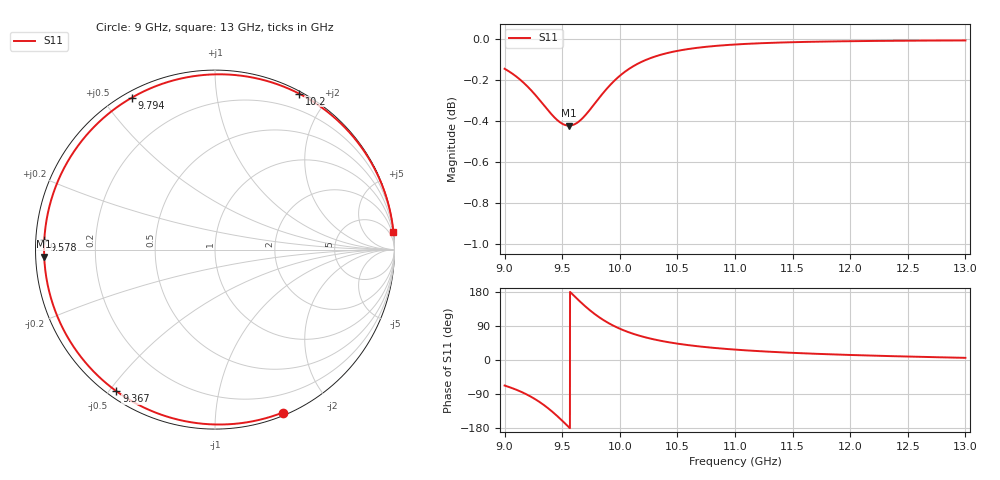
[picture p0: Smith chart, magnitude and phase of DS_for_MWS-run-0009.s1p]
! TOUCHSTONE file generated by CST DESIGN STUDIO
! Date and time: Tue Feb  4 18:26:32 2025
! Project name: C:\Work\MatlabApps\UnitCellOptimizationMatlab\CST\unitcell.cst
! Tree item: Tasks\Sweep1\SPara1\S-Parameters
! Header version: 2024
! Port assignment regex: !\s*Touchstone port\s*([0-9]+)\s*=\s*(CST MWS port|CST DES external port|CST DES block port)\s*(.+)\s* \(\"(.*)\"\)(\s*mode\s*([0-9]+))?.*
! Touchstone port assignment:
! Touchstone port 1 = CST DES external port 1 ("")
# GHz S MA R 50
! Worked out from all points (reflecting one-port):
!   4001 points, 9 GHz to 13 GHz, reference 50 ohm
!   lowest |S11| = -0.4 dB at 9.559 GHz (marker M1), VSWR 41.05, Z = 1.22 - j1.05 ohm
!   phase of S11 starts at -67 deg and turns -287 deg over the sweep
!   S11 on the Smith chart (normalised r, x): 9 GHz: 0.03, -1.50; 9.367 GHz: 0.03, -0.52; 9.578 GHz: 0.02, +0.03; 9.794 GHz: 0.02, +0.59; 10.2 GHz: 0.02, +1.67; 13 GHz: 0, +20
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9  0.9832 -67.4
9.041  0.9817 -71.6
9.107  0.9787 -79.1
9.22  0.9722 -95.4
9.298  0.9666 -109.7
9.367  0.9614 -124.8
9.432  0.9569 -141.2
9.5  0.9535 -160.2
9.559  0.9524 -177.6
9.578  0.9526 176.7
9.633  0.9541 160.5
9.693  0.9575 143.6
9.743  0.9611 130.6
9.794  0.9652 118.6
9.839  0.9687 109.1
9.887  0.9723 100.0
9.94  0.9759 91.2
10  0.9794 82.6
10.095  0.9838 71.3
10.198  0.9873 61.7
10.337  0.9906 51.8
10.5  0.9931 43.2
10.721  0.9952 34.8
11  0.9967 27.4
11.5  0.998 18.9
12  0.9985 13.3
12.5  0.9988 9.1
13  0.9989 5.7
